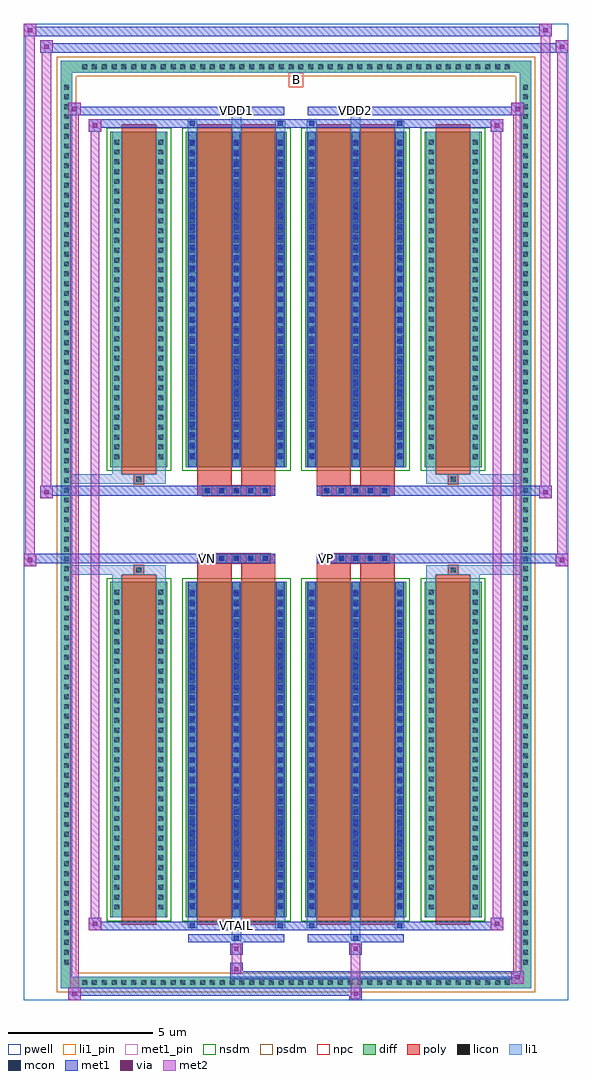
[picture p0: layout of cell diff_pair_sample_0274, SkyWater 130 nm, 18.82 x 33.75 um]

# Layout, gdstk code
import gdstk
lib = gdstk.Library(unit=1e-6, precision=5e-09)
def R(c, l, rs):  # rectangles x0, y0, x1, y1
    for r in rs: c.add(gdstk.rectangle(r[:2], r[2:], *l))
def A(c, l, x, y, w, h, nx, ny, dx, dy):  # array of equal rectangles
    R(c, l, [(x+i*dx, y+j*dy, x+i*dx+w, y+j*dy+h) for i in range(nx) for j in range(ny)])
def P(c, l, *ps):  # polygons
    for p in ps: c.add(gdstk.Polygon(p, *l))
pwell = (64, 44)
diff = (65, 20)
poly = (66, 20)
licon = (66, 44)
li1_pin = (67, 16)
li1 = (67, 20)
mcon = (67, 44)
met1_pin = (68, 16)
met1 = (68, 20)
via = (68, 44)
met2 = (69, 20)
nsdm = (93, 44)
psdm = (94, 20)
npc = (95, 20)

diff_pair_sample_0274 = lib.new_cell('diff_pair_sample_0274')
R(diff_pair_sample_0274, pwell, [(-9.41,-16.44,9.41,17.31), (-6.73,-14.63,-0.01,-0.805), (0.01,-14.63,6.73,-0.805), (-6.73,0.805,-0.01,14.63), (0.01,0.805,6.73,14.63)])
A(diff_pair_sample_0274, diff, -7.515, -16.04, 0.41, 0.41, 44, 2, 0.34, 31.67)
A(diff_pair_sample_0274, diff, -8.14, -15.335, 0.41, 0.41, 1, 90, 0, 0.34)
A(diff_pair_sample_0274, diff, 7.73, -15.335, 0.41, 0.41, 1, 90, 0, 0.34)
R(diff_pair_sample_0274, diff, [(-7.515,-16.04,7.515,-15.63), (-8.14,-15.335,-7.73,15.335), (7.73,-15.335,8.14,15.335), (-6.42,-13.585,-4.45,-1.985), (-3.81,-13.585,-0.32,-1.985), (0.32,-13.585,3.81,-1.985), (4.45,-13.585,6.42,-1.985), (-6.42,1.985,-4.45,13.585), (-3.81,1.985,-0.32,13.585), (0.32,1.985,3.81,13.585), (4.45,1.985,6.42,13.585), (-7.515,15.63,7.515,16.04)])
P(diff_pair_sample_0274, diff, [(8.14,16.04),(-8.14,16.04),(-8.14,-15.63),(-7.73,-15.63),(-7.73,15.63),(7.73,15.63),(7.73,-15.63),(-7.73,-15.63),(-8.14,-15.63),(-8.14,-16.04),(8.14,-16.04)])
A(diff_pair_sample_0274, poly, -3.23, -1.335, 0.33, 0.33, 5, 2, 0.5, 2.34)
A(diff_pair_sample_0274, poly, 0.9, -1.335, 0.33, 0.33, 5, 2, 0.5, 2.34)
R(diff_pair_sample_0274, poly, [(-6.03,-13.835,-4.84,-1.735), (-3.42,-13.835,-2.23,-1.735), (-1.9,-13.835,-0.71,-1.735), (0.71,-13.835,1.9,-1.735), (2.23,-13.835,3.42,-1.735), (4.84,-13.835,6.03,-1.735), (-5.6,-1.735,-5.27,-1.405), (-5.6,-1.735,-5.27,-1.405), (-3.42,-1.735,-2.23,-1.335), (-1.9,-1.735,-0.71,-1.335), (0.71,-1.735,1.9,-1.335), (2.23,-1.735,3.42,-1.335), (5.27,-1.735,5.6,-1.405), (5.27,-1.735,5.6,-1.405), (-3.42,-1.335,-0.71,-1.005), (0.71,-1.335,3.42,-1.005), (-3.42,1.005,-0.71,1.335), (0.71,1.005,3.42,1.335), (-3.42,1.335,-2.23,1.735), (-1.9,1.335,-0.71,1.735), (0.71,1.335,1.9,1.735), (2.23,1.335,3.42,1.735), (-5.6,1.405,-5.27,1.735), (-5.6,1.405,-5.27,1.735), (5.27,1.405,5.6,1.735), (5.27,1.405,5.6,1.735), (-6.03,1.735,-4.84,13.835), (-3.42,1.735,-2.23,13.835), (-1.9,1.735,-0.71,13.835), (0.71,1.735,1.9,13.835), (2.23,1.735,3.42,13.835), (4.84,1.735,6.03,13.835)])
A(diff_pair_sample_0274, licon, -7.395, -15.92, 0.17, 0.17, 44, 2, 0.34, 31.67)
A(diff_pair_sample_0274, licon, -8.02, -15.215, 0.17, 0.17, 1, 90, 0, 0.34)
A(diff_pair_sample_0274, licon, 7.85, -15.215, 0.17, 0.17, 1, 90, 0, 0.34)
A(diff_pair_sample_0274, licon, -6.28, -13.31, 0.17, 0.17, 1, 33, 0, 0.34)
A(diff_pair_sample_0274, licon, -4.76, -13.31, 0.17, 0.17, 1, 33, 0, 0.34)
A(diff_pair_sample_0274, licon, -3.67, -13.31, 0.17, 0.17, 3, 33, 1.52, 0.34)
A(diff_pair_sample_0274, licon, 0.46, -13.31, 0.17, 0.17, 3, 33, 1.52, 0.34)
A(diff_pair_sample_0274, licon, 4.59, -13.31, 0.17, 0.17, 1, 33, 0, 0.34)
A(diff_pair_sample_0274, licon, 6.11, -13.31, 0.17, 0.17, 1, 33, 0, 0.34)
A(diff_pair_sample_0274, licon, -3.15, -1.255, 0.17, 0.17, 5, 2, 0.5, 2.34)
A(diff_pair_sample_0274, licon, 0.98, -1.255, 0.17, 0.17, 5, 2, 0.5, 2.34)
A(diff_pair_sample_0274, licon, -6.28, 2.26, 0.17, 0.17, 1, 33, 0, 0.34)
A(diff_pair_sample_0274, licon, -4.76, 2.26, 0.17, 0.17, 1, 33, 0, 0.34)
A(diff_pair_sample_0274, licon, -3.67, 2.26, 0.17, 0.17, 3, 33, 1.52, 0.34)
A(diff_pair_sample_0274, licon, 0.46, 2.26, 0.17, 0.17, 3, 33, 1.52, 0.34)
A(diff_pair_sample_0274, licon, 4.59, 2.26, 0.17, 0.17, 1, 33, 0, 0.34)
A(diff_pair_sample_0274, licon, 6.11, 2.26, 0.17, 0.17, 1, 33, 0, 0.34)
R(diff_pair_sample_0274, licon, [(-5.52,-1.655,-5.35,-1.485), (5.35,-1.655,5.52,-1.485), (-5.52,1.485,-5.35,1.655), (5.35,1.485,5.52,1.655)])
R(diff_pair_sample_0274, li1_pin, [(-0.25,15.13,0.25,15.63)])
A(diff_pair_sample_0274, li1, -7.475, -16, 0.33, 0.33, 44, 2, 0.34, 31.67)
A(diff_pair_sample_0274, li1, -8.1, -15.295, 0.33, 0.33, 1, 90, 0, 0.34)
A(diff_pair_sample_0274, li1, 7.77, -15.295, 0.33, 0.33, 1, 90, 0, 0.34)
A(diff_pair_sample_0274, li1, -3.75, -13.585, 0.33, 11.6, 3, 2, 1.52, 15.57)
A(diff_pair_sample_0274, li1, 0.38, -13.585, 0.33, 11.6, 3, 2, 1.52, 15.57)
A(diff_pair_sample_0274, li1, -6.36, -13.39, 0.33, 0.33, 1, 33, 0, 0.34)
A(diff_pair_sample_0274, li1, -4.84, -13.39, 0.33, 0.33, 1, 33, 0, 0.34)
A(diff_pair_sample_0274, li1, -3.75, -13.39, 0.33, 0.33, 3, 33, 1.52, 0.34)
A(diff_pair_sample_0274, li1, 0.38, -13.39, 0.33, 0.33, 3, 33, 1.52, 0.34)
A(diff_pair_sample_0274, li1, 4.51, -13.39, 0.33, 0.33, 1, 33, 0, 0.34)
A(diff_pair_sample_0274, li1, 6.03, -13.39, 0.33, 0.33, 1, 33, 0, 0.34)
A(diff_pair_sample_0274, li1, -3.67, -13.27, 0.17, 0.17, 3, 31, 1.52, 0.36)
A(diff_pair_sample_0274, li1, -3.67, -13.27, 0.17, 10.97, 3, 2, 1.52, 15.57)
A(diff_pair_sample_0274, li1, 0.46, -13.27, 0.17, 0.17, 3, 31, 1.52, 0.36)
A(diff_pair_sample_0274, li1, 0.46, -13.27, 0.17, 10.97, 3, 2, 1.52, 15.57)
A(diff_pair_sample_0274, li1, -3.23, -1.335, 0.33, 0.33, 5, 2, 0.5, 2.34)
A(diff_pair_sample_0274, li1, 0.9, -1.335, 0.33, 0.33, 5, 2, 0.5, 2.34)
A(diff_pair_sample_0274, li1, -6.36, 2.18, 0.33, 0.33, 1, 33, 0, 0.34)
A(diff_pair_sample_0274, li1, -4.84, 2.18, 0.33, 0.33, 1, 33, 0, 0.34)
A(diff_pair_sample_0274, li1, -3.75, 2.18, 0.33, 0.33, 3, 33, 1.52, 0.34)
A(diff_pair_sample_0274, li1, 0.38, 2.18, 0.33, 0.33, 3, 33, 1.52, 0.34)
A(diff_pair_sample_0274, li1, 4.51, 2.18, 0.33, 0.33, 1, 33, 0, 0.34)
A(diff_pair_sample_0274, li1, 6.03, 2.18, 0.33, 0.33, 1, 33, 0, 0.34)
A(diff_pair_sample_0274, li1, -3.67, 2.3, 0.17, 0.17, 3, 31, 1.52, 0.36)
A(diff_pair_sample_0274, li1, 0.46, 2.3, 0.17, 0.17, 3, 31, 1.52, 0.36)
R(diff_pair_sample_0274, li1, [(-8.14,-16.04,-7.73,-15.63), (-8.14,-16.04,-7.73,-15.63), (-7.73,-16.04,7.73,-15.63), (7.73,-16.04,8.14,-15.63), (7.73,-16.04,8.14,-15.63), (-8.14,-15.63,-7.73,15.63), (7.73,-15.63,8.14,15.63), (-2.23,-14.39,-1.9,-13.585), (-2.15,-14.39,-1.98,-14.22), (1.9,-14.39,2.23,-13.585), (1.98,-14.39,2.15,-14.22), (-3.75,-13.96,-3.42,-13.585), (-3.67,-13.96,-3.5,-13.79), (-0.71,-13.96,-0.38,-13.585), (-0.63,-13.96,-0.46,-13.79), (0.38,-13.96,0.71,-13.585), (0.46,-13.96,0.63,-13.79), (3.42,-13.96,3.75,-13.585), (3.5,-13.96,3.67,-13.79), (-6.36,-13.585,-6.03,-1.985), (-4.84,-13.585,-4.51,-1.985), (4.51,-13.585,4.84,-1.985), (6.03,-13.585,6.36,-1.985), (-6.36,-1.985,-6.03,-1.405), (-4.84,-1.985,-4.51,-1.405), (4.51,-1.985,4.84,-1.405), (6.03,-1.985,6.36,-1.405), (-8.14,-1.735,-5.6,-1.405), (-6.36,-1.735,-5.6,-1.405), (-5.6,-1.735,-5.27,-1.405), (-5.27,-1.735,-4.51,-1.405), (4.51,-1.735,5.27,-1.405), (5.27,-1.735,5.6,-1.405), (5.27,-1.735,8.14,-1.405), (5.6,-1.735,6.36,-1.405), (-8.14,1.405,-5.6,1.735), (-6.36,1.405,-5.6,1.735), (-6.36,1.405,-6.03,1.985), (-5.6,1.405,-5.27,1.735), (-5.27,1.405,-4.51,1.735), (-4.84,1.405,-4.51,1.985), (4.51,1.405,5.27,1.735), (4.51,1.405,4.84,1.985), (5.27,1.405,5.6,1.735), (5.27,1.405,8.14,1.735), (5.6,1.405,6.36,1.735), (6.03,1.405,6.36,1.985), (-6.36,1.985,-6.03,13.585), (-4.84,1.985,-4.51,13.585), (4.51,1.985,4.84,13.585), (6.03,1.985,6.36,13.585), (-3.75,13.585,-3.42,13.96), (-2.23,13.585,-1.9,14.39), (-0.71,13.585,-0.38,13.96), (0.38,13.585,0.71,13.96), (1.9,13.585,2.23,14.39), (3.42,13.585,3.75,13.96), (-3.67,13.79,-3.5,13.96), (-0.63,13.79,-0.46,13.96), (0.46,13.79,0.63,13.96), (3.5,13.79,3.67,13.96), (-2.15,14.22,-1.98,14.39), (1.98,14.22,2.15,14.39), (-8.14,15.63,-7.73,16.04), (-8.14,15.63,-7.73,16.04), (-7.73,15.63,7.73,16.04), (7.73,15.63,8.14,16.04), (7.73,15.63,8.14,16.04)])
A(diff_pair_sample_0274, mcon, -3.67, -13.27, 0.17, 0.17, 3, 31, 1.52, 0.36)
A(diff_pair_sample_0274, mcon, 0.46, -13.27, 0.17, 0.17, 3, 31, 1.52, 0.36)
A(diff_pair_sample_0274, mcon, -3.15, -1.255, 0.17, 0.17, 5, 2, 0.5, 2.34)
A(diff_pair_sample_0274, mcon, 0.98, -1.255, 0.17, 0.17, 5, 2, 0.5, 2.34)
A(diff_pair_sample_0274, mcon, -3.67, 2.3, 0.17, 0.17, 3, 31, 1.52, 0.36)
A(diff_pair_sample_0274, mcon, 0.46, 2.3, 0.17, 0.17, 3, 31, 1.52, 0.36)
R(diff_pair_sample_0274, mcon, [(-2.15,-14.39,-1.98,-14.22), (1.98,-14.39,2.15,-14.22), (-3.67,-13.96,-3.5,-13.79), (-0.63,-13.96,-0.46,-13.79), (0.46,-13.96,0.63,-13.79), (3.5,-13.96,3.67,-13.79), (-3.67,13.79,-3.5,13.96), (-0.63,13.79,-0.46,13.96), (0.46,13.79,0.63,13.96), (3.5,13.79,3.67,13.96), (-2.15,14.22,-1.98,14.39), (1.98,14.22,2.15,14.39)])
R(diff_pair_sample_0274, met1_pin, [(-2.2,-14,-1.93,-13.73), (-3.2,-1.295,-2.93,-1.025), (0.93,-1.295,1.2,-1.025), (-2.2,14.18,-1.93,14.45), (1.93,14.18,2.2,14.45)])
A(diff_pair_sample_0274, met1, -3.73, -13.585, 0.29, 11.6, 3, 2, 1.52, 15.57)
A(diff_pair_sample_0274, met1, 0.4, -13.585, 0.29, 11.6, 3, 2, 1.52, 15.57)
A(diff_pair_sample_0274, met1, -3.73, -13.33, 0.29, 0.29, 3, 31, 1.52, 0.36)
A(diff_pair_sample_0274, met1, 0.4, -13.33, 0.29, 0.29, 3, 31, 1.52, 0.36)
A(diff_pair_sample_0274, met1, -3.21, -1.315, 0.29, 0.29, 5, 2, 0.5, 2.34)
A(diff_pair_sample_0274, met1, 0.92, -1.315, 0.29, 0.29, 5, 2, 0.5, 2.34)
A(diff_pair_sample_0274, met1, -3.73, 2.24, 0.29, 0.29, 3, 31, 1.52, 0.36)
A(diff_pair_sample_0274, met1, 0.4, 2.24, 0.29, 0.29, 3, 31, 1.52, 0.36)
R(diff_pair_sample_0274, met1, [(-7.87,-16.44,-7.44,-16.01), (1.85,-16.44,2.28,-16.01), (-7.87,-16.3,2.28,-16.01), (7.44,-15.87,7.87,-15.44), (-2.28,-15.73,7.87,-15.44), (-2.28,-15.59,-1.85,-15.16), (-2.28,-14.88,-1.85,-14.45), (1.85,-14.88,2.28,-14.45), (-3.73,-14.45,-0.4,-14.16), (-2.21,-14.45,-1.92,-14.16), (0.4,-14.45,3.73,-14.16), (1.92,-14.45,2.21,-14.16), (-7.16,-14.02,-6.73,-13.59), (-7.16,-14.02,-3.73,-13.73), (-3.73,-14.02,-3.44,-13.73), (-3.73,-14.02,-0.4,-13.73), (-0.69,-14.02,-0.4,-13.73), (-0.4,-14.02,0.4,-13.73), (0.4,-14.02,0.69,-13.73), (0.4,-14.02,3.73,-13.73), (3.44,-14.02,3.73,-13.73), (3.73,-14.02,7.16,-13.73), (6.73,-14.02,7.16,-13.59), (-9.41,-1.435,-8.98,-1.005), (8.98,-1.435,9.41,-1.005), (-9.41,-1.335,-0.71,-1.005), (-3.42,-1.335,-0.71,-1.005), (0.71,-1.335,3.42,-1.005), (0.71,-1.335,9.41,-1.005), (-8.84,0.905,-8.41,1.335), (8.41,0.905,8.84,1.335), (-8.84,1.005,-3.42,1.335), (-3.42,1.005,-0.71,1.335), (0.71,1.005,3.42,1.335), (3.42,1.005,8.84,1.335), (-7.16,13.59,-6.73,14.02), (6.73,13.59,7.16,14.02), (-7.16,13.73,-3.73,14.02), (-3.73,13.73,-3.44,14.02), (-3.73,13.73,-0.4,14.02), (-0.69,13.73,-0.4,14.02), (-0.4,13.73,0.4,14.02), (0.4,13.73,0.69,14.02), (0.4,13.73,3.73,14.02), (3.44,13.73,3.73,14.02), (3.73,13.73,7.16,14.02), (-7.87,14.16,-7.44,14.59), (-7.87,14.16,-3.73,14.45), (-3.73,14.16,-0.4,14.45), (-2.21,14.16,-1.92,14.45), (0.4,14.16,3.73,14.45), (1.92,14.16,2.21,14.45), (3.73,14.16,7.87,14.45), (7.44,14.16,7.87,14.59), (-8.84,16.31,-8.41,16.74), (-8.84,16.31,-6.73,16.64), (-6.73,16.31,6.73,16.64), (6.73,16.31,9.41,16.64), (8.98,16.31,9.41,16.74), (-9.41,16.88,-8.98,17.31), (-9.41,16.88,-6.73,17.21), (-6.73,16.88,6.73,17.21), (6.73,16.88,8.84,17.21), (8.41,16.88,8.84,17.31)])
R(diff_pair_sample_0274, via, [(-7.73,-16.3,-7.58,-16.15), (1.99,-16.3,2.14,-16.15), (7.58,-15.73,7.73,-15.58), (-2.14,-15.45,-1.99,-15.3), (-2.14,-14.74,-1.99,-14.59), (1.99,-14.74,2.14,-14.59), (-7.02,-13.88,-6.87,-13.73), (6.87,-13.88,7.02,-13.73), (-9.27,-1.295,-9.12,-1.145), (9.12,-1.295,9.27,-1.145), (-8.7,1.045,-8.55,1.195), (8.55,1.045,8.7,1.195), (-7.02,13.73,-6.87,13.88), (6.87,13.73,7.02,13.88), (-7.73,14.3,-7.58,14.45), (7.58,14.3,7.73,14.45), (-8.7,16.45,-8.55,16.6), (9.12,16.45,9.27,16.6), (-9.27,17.02,-9.12,17.17), (8.55,17.02,8.7,17.17)])
R(diff_pair_sample_0274, met2, [(-7.87,-16.44,-7.44,-16.01), (-7.8,-16.44,-7.51,14.59), (-7.51,-16.44,-7.44,-16.01), (-7.82,-16.39,-7.49,-16.06), (1.9,-16.39,2.23,-16.06), (1.9,-16.06,2.23,-14.83), (7.44,-15.87,7.87,-15.44), (7.51,-15.87,7.8,14.59), (7.8,-15.87,7.87,-15.44), (7.49,-15.82,7.82,-15.49), (-2.23,-15.54,-1.9,-15.21), (-2.23,-15.21,-1.9,-14.83), (-2.23,-14.83,-1.9,-14.5), (1.9,-14.83,2.23,-14.5), (-7.16,-14.02,-6.73,-13.59), (-7.09,-14.02,-6.8,14.02), (-6.8,-14.02,-6.73,-13.59), (6.73,-14.02,7.16,-13.59), (6.8,-14.02,7.09,14.02), (7.09,-14.02,7.16,-13.59), (-7.11,-13.97,-6.78,-13.64), (6.78,-13.97,7.11,-13.64), (-9.41,-1.435,-8.98,-1.005), (-9.36,-1.435,-9.03,17.31), (-9.03,-1.435,-8.98,-1.005), (8.98,-1.435,9.41,-1.005), (9.03,-1.435,9.36,16.74), (9.36,-1.435,9.41,-1.005), (-9.36,-1.385,-9.03,-1.055), (9.03,-1.385,9.36,-1.055), (-8.84,0.905,-8.41,1.335), (-8.79,0.905,-8.46,16.74), (-8.46,0.905,-8.41,1.335), (8.41,0.905,8.84,1.335), (8.46,0.905,8.79,17.31), (8.79,0.905,8.84,1.335), (-8.79,0.955,-8.46,1.285), (8.46,0.955,8.79,1.285), (-7.16,13.59,-6.73,14.02), (-6.8,13.59,-6.73,14.02), (6.73,13.59,7.16,14.02), (7.09,13.59,7.16,14.02), (-7.11,13.64,-6.78,13.97), (6.78,13.64,7.11,13.97), (-7.87,14.16,-7.44,14.59), (-7.51,14.16,-7.44,14.59), (7.44,14.16,7.87,14.59), (7.8,14.16,7.87,14.59), (-7.82,14.21,-7.49,14.54), (7.49,14.21,7.82,14.54), (-8.84,16.31,-8.41,16.74), (-8.46,16.31,-8.41,16.74), (8.98,16.31,9.41,16.74), (9.36,16.31,9.41,16.74), (-8.79,16.36,-8.46,16.69), (9.03,16.36,9.36,16.69), (-9.41,16.88,-8.98,17.31), (-9.03,16.88,-8.98,17.31), (8.41,16.88,8.84,17.31), (8.79,16.88,8.84,17.31), (-9.36,16.93,-9.03,17.26), (8.46,16.93,8.79,17.26)])
R(diff_pair_sample_0274, nsdm, [(-6.55,-13.715,-4.32,-1.855), (-3.94,-13.715,-0.19,-1.855), (0.19,-13.715,3.94,-1.855), (4.32,-13.715,6.55,-1.855), (-6.55,1.855,-4.32,13.715), (-3.94,1.855,-0.19,13.715), (0.19,1.855,3.94,13.715), (4.32,1.855,6.55,13.715)])
P(diff_pair_sample_0274, psdm, [(8.27,16.17),(-8.27,16.17),(-8.27,-15.5),(-7.6,-15.5),(-7.6,15.5),(7.6,15.5),(7.6,-15.5),(-7.6,-15.5),(-8.27,-15.5),(-8.27,-16.17),(8.27,-16.17)])
A(diff_pair_sample_0274, npc, -3.25, -1.355, 0.37, 0.37, 5, 2, 0.5, 2.34)
A(diff_pair_sample_0274, npc, 0.88, -1.355, 0.37, 0.37, 5, 2, 0.5, 2.34)
R(diff_pair_sample_0274, npc, [(-5.62,-1.755,-5.25,-1.385), (5.25,-1.755,5.62,-1.385), (-3.25,-1.355,-2.38,-0.985), (-3.25,-1.355,-2.38,-0.985), (-2.75,-1.355,-1.88,-0.985), (-2.75,-1.355,-1.88,-0.985), (-2.25,-1.355,-1.38,-0.985), (-2.25,-1.355,-1.38,-0.985), (-1.75,-1.355,-0.88,-0.985), (-1.75,-1.355,-0.88,-0.985), (0.88,-1.355,1.75,-0.985), (0.88,-1.355,1.75,-0.985), (1.38,-1.355,2.25,-0.985), (1.38,-1.355,2.25,-0.985), (1.88,-1.355,2.75,-0.985), (1.88,-1.355,2.75,-0.985), (2.38,-1.355,3.25,-0.985), (2.38,-1.355,3.25,-0.985), (-3.25,0.985,-2.38,1.355), (-3.25,0.985,-2.38,1.355), (-2.75,0.985,-1.88,1.355), (-2.75,0.985,-1.88,1.355), (-2.25,0.985,-1.38,1.355), (-2.25,0.985,-1.38,1.355), (-1.75,0.985,-0.88,1.355), (-1.75,0.985,-0.88,1.355), (0.88,0.985,1.75,1.355), (0.88,0.985,1.75,1.355), (1.38,0.985,2.25,1.355), (1.38,0.985,2.25,1.355), (1.88,0.985,2.75,1.355), (1.88,0.985,2.75,1.355), (2.38,0.985,3.25,1.355), (2.38,0.985,3.25,1.355), (-5.62,1.385,-5.25,1.755), (5.25,1.385,5.62,1.755)])
diff_pair_sample_0274.add(gdstk.Label('VTAIL', (-2.065,-13.865), layer=68, texttype=5))
diff_pair_sample_0274.add(gdstk.Label('VN', (-3.065,-1.16), layer=68, texttype=5))
diff_pair_sample_0274.add(gdstk.Label('VP', (1.065,-1.16), layer=68, texttype=5))
diff_pair_sample_0274.add(gdstk.Label('B', (0,15.38), layer=67, texttype=5))
diff_pair_sample_0274.add(gdstk.Label('VDD2', (2.065,14.315), layer=68, texttype=5))
diff_pair_sample_0274.add(gdstk.Label('VDD1', (-2.065,14.315), layer=68, texttype=5))

lib.write_gds('diff_pair_sample_0274.gds')
